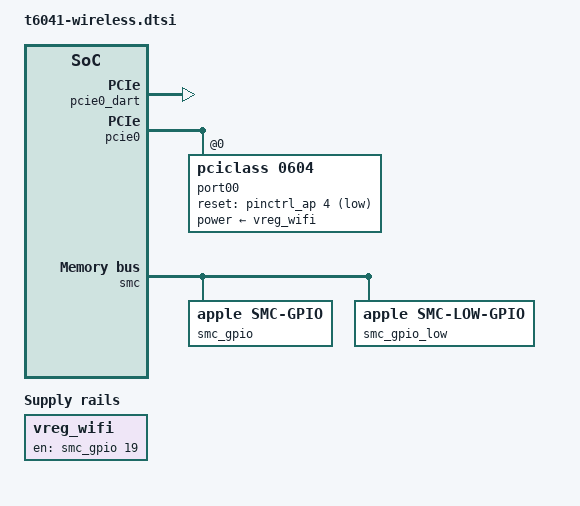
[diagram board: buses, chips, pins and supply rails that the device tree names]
// SPDX-License-Identifier: GPL-2.0+ OR MIT
/* J616c Wi-Fi/Bluetooth PCIe port. Resources verified through live ADT get_reg.
 * m1n1 supplies MAC addresses, antenna SKU and calibration blobs.
 */
#include <dt-bindings/gpio/gpio.h>
#include <dt-bindings/pinctrl/apple.h>
/ {
	aliases { wifi0 = &wifi0; bluetooth0 = &bluetooth0; };
};
&{/soc} {
	pinctrl_ap: pinctrl@51c000000 {
		compatible = "apple,t6041-pinctrl", "apple,t8103-pinctrl";
		reg = <5 0x1c000000 0 0x4000>;
		gpio-controller;
		#gpio-cells = <2>;
		gpio-ranges = <&pinctrl_ap 0 0 200>;
		apple,npins = <200>;
		interrupt-controller;
		#interrupt-cells = <2>;
		interrupt-parent = <&aic>;
		interrupts = <AIC_IRQ 478 IRQ_TYPE_LEVEL_HIGH>, <AIC_IRQ 479 IRQ_TYPE_LEVEL_HIGH>,
			<AIC_IRQ 480 IRQ_TYPE_LEVEL_HIGH>, <AIC_IRQ 481 IRQ_TYPE_LEVEL_HIGH>,
			<AIC_IRQ 482 IRQ_TYPE_LEVEL_HIGH>, <AIC_IRQ 483 IRQ_TYPE_LEVEL_HIGH>,
			<AIC_IRQ 484 IRQ_TYPE_LEVEL_HIGH>;
		pcie0_pins: pcie0-pins { pinmux = <APPLE_PINMUX(0, 2)>; };
	};
	pcie0_dart: iommu@410000000 {
		compatible = "apple,t6041-dart", "apple,t8110-dart";
		reg = <4 0x10000000 0 0x20000>;
		interrupt-parent = <&aic>;
		interrupts = <AIC_IRQ 1724 IRQ_TYPE_LEVEL_HIGH>;
		#iommu-cells = <1>;
	};
	pcie0: pcie@1cb0000000 {
		compatible = "apple,t6041-pcie", "apple,t6020-pcie";
		device_type = "pci";
		reg = <0x1c 0xb0000000 0 0x1000000>, <4 0x14000000 0 0x4000>,
			<4 0x10028000 0 0x8000>, <4 0x17020000 0 0x4000>;
		reg-names = "config", "rc", "port0", "phy0";
		interrupt-parent = <&aic>;
		interrupts = <AIC_IRQ 1723 IRQ_TYPE_LEVEL_HIGH>;
		msi-controller;
		msi-parent = <&pcie0>;
		msi-ranges = <&aic AIC_IRQ 2071 IRQ_TYPE_EDGE_RISING 32>;
		iommu-map = <0x100 &pcie0_dart 0 1>, <0x101 &pcie0_dart 1 1>;
		iommu-map-mask = <0xffff>;
		bus-range = <0 4>;
		#address-cells = <3>;
		#size-cells = <2>;
		ranges = <0x43000000 0xb 0xc0000000 0xb 0xc0000000 0 0x20000000>,
			<0x02000000 0 0x80000000 0xb 0x80000000 0 0x40000000>;
		pinctrl-0 = <&pcie0_pins>;
		pinctrl-names = "default";
		port00: pci@0,0 {
			compatible = "pciclass,0604";
			device_type = "pci";
			reg = <0 0 0 0 0>;
			reset-gpios = <&pinctrl_ap 4 GPIO_ACTIVE_LOW>;
			power-supply = <&vreg_wifi>;
			bus-range = <1 1>;
			#address-cells = <3>;
			#size-cells = <2>;
			ranges;
			interrupt-controller;
			#interrupt-cells = <1>;
			interrupt-map-mask = <0 0 0 7>;
			interrupt-map = <0 0 0 1 &port00 0 0 0 0>, <0 0 0 2 &port00 0 0 0 1>,
				<0 0 0 3 &port00 0 0 0 2>, <0 0 0 4 &port00 0 0 0 3>;
			wifi0: wifi@0,0 {
				compatible = "pci14e4,4434";
				reg = <0x10000 0 0 0 0>;
				brcm,board-type = "apple,hostomel";
				local-mac-address = [00 00 00 00 00 00];
				apple,antenna-sku = "XX";
			};
			bluetooth0: bluetooth@0,1 {
				compatible = "pci14e4,5f72";
				reg = <0x10100 0 0 0 0>;
				brcm,board-type = "apple,hostomel";
				local-bd-address = [00 00 00 00 00 00];
			};
		};
	};
};

/ {
	vreg_wifi: regulator-wifi {
		compatible = "regulator-fixed";
		regulator-name = "pwren-wifi-bt";
		/* /amfm/function-reg_on identifies SMC GPIO gP13. */
		gpio = <&smc_gpio 19 GPIO_ACTIVE_HIGH>;
		enable-active-high;
	};
};
&{/soc} {
	smc_mbox: mailbox@50c608000 {
		compatible = "apple,t6041-asc-mailbox", "apple,asc-mailbox-v4";
		reg = <5 0x0c608000 0 0x4000>;
		interrupt-parent = <&aic>;
		interrupts = <AIC_IRQ 996 IRQ_TYPE_LEVEL_HIGH>, <AIC_IRQ 997 IRQ_TYPE_LEVEL_HIGH>,
			<AIC_IRQ 998 IRQ_TYPE_LEVEL_HIGH>, <AIC_IRQ 999 IRQ_TYPE_LEVEL_HIGH>;
		interrupt-names = "send-empty", "send-not-empty", "recv-empty", "recv-not-empty";
		#mbox-cells = <0>;
	};
	smc: smc@50c600000 {
		compatible = "apple,t6041-smc", "apple,t8103-smc";
		reg = <5 0x0c600000 0 0x4000>, <5 0x0de00000 0 0x100000>;
		reg-names = "smc", "sram";
		mboxes = <&smc_mbox>;
		smc_gpio: gpio {
			compatible = "apple,smc-gpio";
			gpio-controller;
			#gpio-cells = <2>;
		};
		smc_gpio_low: gpio-low {
			compatible = "apple,smc-low-gpio";
			gpio-controller;
			#gpio-cells = <2>;
		};
	};
};
